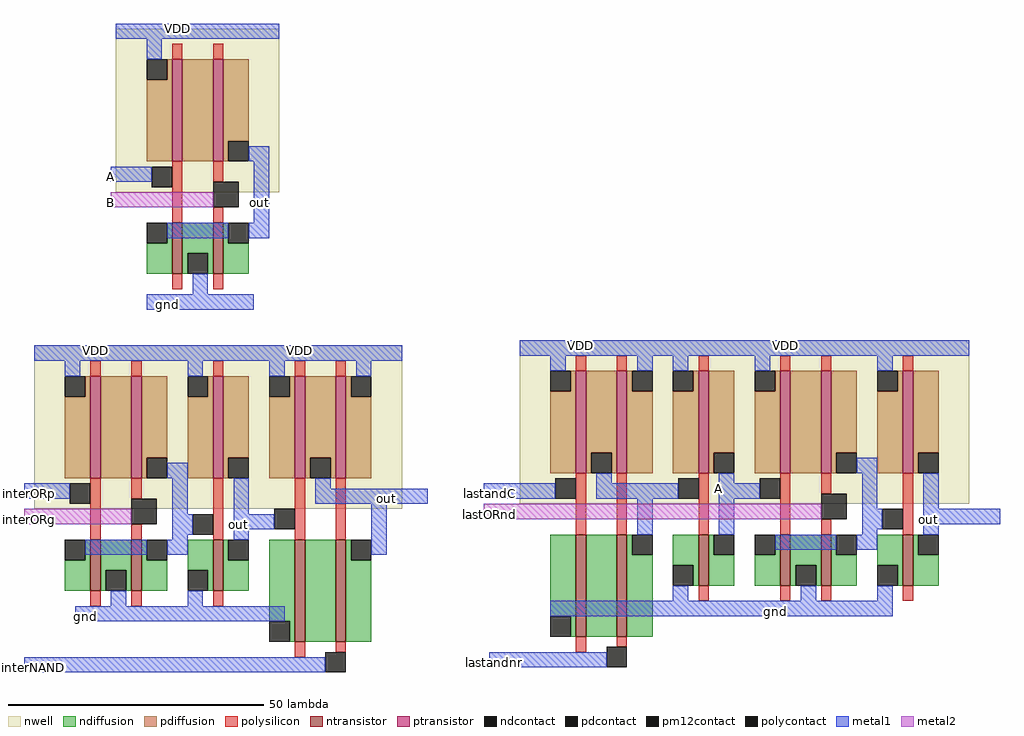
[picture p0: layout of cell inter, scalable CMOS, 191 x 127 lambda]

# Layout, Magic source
magic
tech scmos
<< nwell >>
rect -77 -12 -45 20
rect -93 -74 -21 -42
rect 2 -73 90 -41
<< ntransistor >>
rect -66 -28 -64 -18
rect -58 -28 -56 -18
rect -82 -90 -80 -80
rect -74 -90 -72 -80
rect -58 -90 -56 -80
rect -42 -100 -40 -80
rect -34 -100 -32 -80
rect 13 -99 15 -79
rect 21 -99 23 -79
rect 37 -89 39 -79
rect 53 -89 55 -79
rect 61 -89 63 -79
rect 77 -89 79 -79
<< ptransistor >>
rect -66 -6 -64 14
rect -58 -6 -56 14
rect -82 -68 -80 -48
rect -74 -68 -72 -48
rect -58 -68 -56 -48
rect -42 -68 -40 -48
rect -34 -68 -32 -48
rect 13 -67 15 -47
rect 21 -67 23 -47
rect 37 -67 39 -47
rect 53 -67 55 -47
rect 61 -67 63 -47
rect 77 -67 79 -47
<< ndiffusion >>
rect -67 -22 -66 -18
rect -71 -28 -66 -22
rect -64 -24 -58 -18
rect -64 -28 -63 -24
rect -59 -28 -58 -24
rect -56 -22 -55 -18
rect -56 -28 -51 -22
rect -83 -84 -82 -80
rect -87 -90 -82 -84
rect -80 -86 -74 -80
rect -80 -90 -79 -86
rect -75 -90 -74 -86
rect -72 -84 -71 -80
rect -72 -90 -67 -84
rect -63 -86 -58 -80
rect -59 -90 -58 -86
rect -56 -84 -55 -80
rect -56 -90 -51 -84
rect -47 -96 -42 -80
rect -43 -100 -42 -96
rect -40 -100 -34 -80
rect -32 -84 -31 -80
rect -32 -100 -27 -84
rect 8 -95 13 -79
rect 12 -99 13 -95
rect 15 -99 21 -79
rect 23 -83 24 -79
rect 23 -99 28 -83
rect 32 -85 37 -79
rect 36 -89 37 -85
rect 39 -83 40 -79
rect 39 -89 44 -83
rect 52 -83 53 -79
rect 48 -89 53 -83
rect 55 -85 61 -79
rect 55 -89 56 -85
rect 60 -89 61 -85
rect 63 -83 64 -79
rect 63 -89 68 -83
rect 72 -85 77 -79
rect 76 -89 77 -85
rect 79 -83 80 -79
rect 79 -89 84 -83
<< pdiffusion >>
rect -67 10 -66 14
rect -71 -6 -66 10
rect -64 -6 -58 14
rect -56 -2 -51 14
rect -56 -6 -55 -2
rect -83 -52 -82 -48
rect -87 -68 -82 -52
rect -80 -68 -74 -48
rect -72 -64 -67 -48
rect -72 -68 -71 -64
rect -59 -52 -58 -48
rect -63 -68 -58 -52
rect -56 -64 -51 -48
rect -56 -68 -55 -64
rect -43 -52 -42 -48
rect -47 -68 -42 -52
rect -40 -64 -34 -48
rect -40 -68 -39 -64
rect -35 -68 -34 -64
rect -32 -52 -31 -48
rect -32 -68 -27 -52
rect 12 -51 13 -47
rect 8 -67 13 -51
rect 15 -63 21 -47
rect 15 -67 16 -63
rect 20 -67 21 -63
rect 23 -51 24 -47
rect 23 -67 28 -51
rect 36 -51 37 -47
rect 32 -67 37 -51
rect 39 -63 44 -47
rect 39 -67 40 -63
rect 52 -51 53 -47
rect 48 -67 53 -51
rect 55 -67 61 -47
rect 63 -63 68 -47
rect 63 -67 64 -63
rect 76 -51 77 -47
rect 72 -67 77 -51
rect 79 -63 84 -47
rect 79 -67 80 -63
<< ndcontact >>
rect -71 -22 -67 -18
rect -63 -28 -59 -24
rect -55 -22 -51 -18
rect -87 -84 -83 -80
rect -79 -90 -75 -86
rect -71 -84 -67 -80
rect -63 -90 -59 -86
rect -55 -84 -51 -80
rect -47 -100 -43 -96
rect -31 -84 -27 -80
rect 8 -99 12 -95
rect 24 -83 28 -79
rect 32 -89 36 -85
rect 40 -83 44 -79
rect 48 -83 52 -79
rect 56 -89 60 -85
rect 64 -83 68 -79
rect 72 -89 76 -85
rect 80 -83 84 -79
<< pdcontact >>
rect -71 10 -67 14
rect -55 -6 -51 -2
rect -87 -52 -83 -48
rect -71 -68 -67 -64
rect -63 -52 -59 -48
rect -55 -68 -51 -64
rect -47 -52 -43 -48
rect -39 -68 -35 -64
rect -31 -52 -27 -48
rect 8 -51 12 -47
rect 16 -67 20 -63
rect 24 -51 28 -47
rect 32 -51 36 -47
rect 40 -67 44 -63
rect 48 -51 52 -47
rect 64 -67 68 -63
rect 72 -51 76 -47
rect 80 -67 84 -63
<< polysilicon >>
rect -66 14 -64 17
rect -58 14 -56 17
rect -66 -18 -64 -6
rect -58 -10 -56 -6
rect -58 -18 -56 -15
rect -66 -31 -64 -28
rect -58 -31 -56 -28
rect -82 -48 -80 -45
rect -74 -48 -72 -45
rect -58 -48 -56 -45
rect -42 -48 -40 -45
rect -34 -48 -32 -45
rect 13 -47 15 -44
rect 21 -47 23 -44
rect 37 -47 39 -44
rect 53 -47 55 -44
rect 61 -47 63 -44
rect 77 -47 79 -44
rect -82 -80 -80 -68
rect -74 -72 -72 -68
rect -74 -80 -72 -77
rect -58 -80 -56 -68
rect -42 -80 -40 -68
rect -34 -80 -32 -68
rect 13 -79 15 -67
rect 21 -79 23 -67
rect 37 -79 39 -67
rect 53 -79 55 -67
rect 61 -71 63 -67
rect 61 -79 63 -76
rect 77 -79 79 -67
rect -82 -93 -80 -90
rect -74 -93 -72 -90
rect -58 -93 -56 -90
rect 37 -92 39 -89
rect 53 -92 55 -89
rect 61 -92 63 -89
rect 77 -92 79 -89
rect -42 -103 -40 -100
rect -34 -102 -32 -100
rect 13 -102 15 -99
rect 21 -101 23 -99
<< polycontact >>
rect -70 -11 -66 -7
rect -86 -73 -82 -69
rect -62 -79 -58 -75
rect -46 -78 -42 -74
rect 9 -72 13 -68
rect 33 -72 37 -68
rect 49 -72 53 -68
rect 73 -78 77 -74
rect -36 -106 -32 -102
rect 19 -105 23 -101
<< metal1 >>
rect -77 18 -45 21
rect -71 14 -68 18
rect -51 -6 -47 -3
rect -78 -10 -70 -7
rect -50 -18 -47 -6
rect -67 -21 -55 -18
rect -51 -21 -47 -18
rect -62 -32 -59 -28
rect -71 -35 -50 -32
rect -93 -45 -21 -42
rect 2 -44 90 -41
rect -87 -48 -84 -45
rect -63 -48 -60 -45
rect -47 -48 -44 -45
rect -30 -48 -27 -45
rect 8 -47 11 -44
rect 25 -47 28 -44
rect 32 -47 35 -44
rect 48 -47 51 -44
rect 72 -47 75 -44
rect -67 -68 -63 -65
rect 68 -67 72 -64
rect -95 -72 -86 -69
rect -66 -75 -63 -68
rect -54 -75 -51 -68
rect -38 -70 -35 -68
rect -38 -73 -16 -70
rect -5 -72 9 -69
rect 17 -69 20 -67
rect 17 -72 33 -69
rect 41 -69 44 -67
rect 41 -72 49 -69
rect -66 -79 -62 -75
rect -54 -78 -46 -75
rect -66 -80 -63 -79
rect -54 -80 -51 -78
rect -83 -83 -71 -80
rect -67 -83 -63 -80
rect -27 -83 -24 -73
rect 25 -79 28 -72
rect 41 -79 44 -72
rect 69 -74 72 -67
rect 81 -74 84 -67
rect 69 -78 73 -74
rect 81 -77 96 -74
rect 69 -79 72 -78
rect 81 -79 84 -77
rect 52 -82 64 -79
rect 68 -82 72 -79
rect -78 -93 -75 -90
rect -63 -93 -60 -90
rect 32 -92 35 -89
rect 57 -92 60 -89
rect 72 -92 75 -89
rect -85 -96 -44 -93
rect 8 -95 75 -92
rect -95 -106 -36 -103
rect -4 -105 19 -102
<< pm12contact >>
rect -58 -15 -53 -10
rect -74 -77 -69 -72
rect 61 -76 66 -71
<< metal2 >>
rect -78 -15 -58 -12
rect -95 -77 -74 -74
rect -5 -76 61 -73
<< labels >>
rlabel metal1 14 -42 14 -42 5 VDD
rlabel metal1 41 -70 41 -70 3 A
rlabel metal1 52 -94 52 -94 1 gnd
rlabel metal1 54 -42 54 -42 5 VDD
rlabel metal1 82 -76 82 -76 1 out
rlabel metal1 -41 -43 -41 -43 5 VDD
rlabel metal1 -24 -72 -24 -72 1 out
rlabel metal1 -81 -43 -81 -43 5 VDD
rlabel metal1 -53 -77 -53 -77 1 out
rlabel metal1 -83 -95 -83 -95 1 gnd
rlabel metal1 -94 -105 -94 -105 3 interNAND
rlabel metal2 -94 -76 -94 -76 3 interORg
rlabel metal1 -94 -71 -94 -71 3 interORp
rlabel metal1 -4 -71 -4 -71 1 lastandC
rlabel metal1 -3 -104 -3 -104 1 lastandnr
rlabel metal2 -4 -75 -4 -75 1 lastORnd
rlabel metal1 -49 -14 -49 -14 7 out
rlabel metal2 -78 -14 -78 -14 3 B
rlabel metal1 -78 -9 -78 -9 3 A
rlabel metal1 -65 20 -65 20 5 VDD
rlabel metal1 -67 -34 -67 -34 1 gnd
<< end >>
